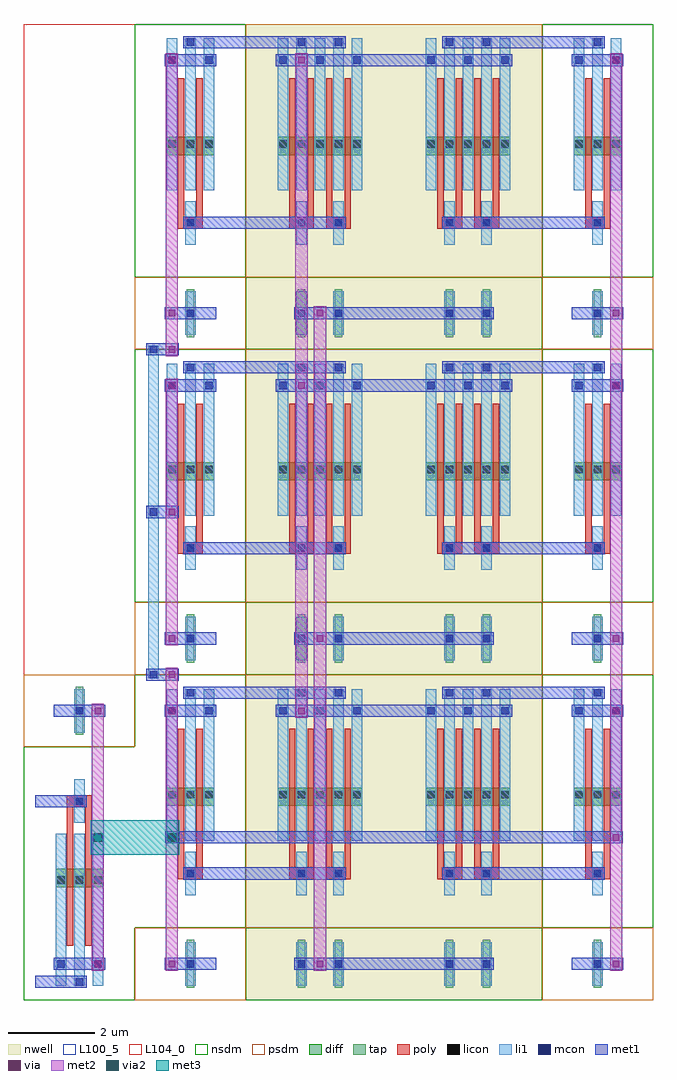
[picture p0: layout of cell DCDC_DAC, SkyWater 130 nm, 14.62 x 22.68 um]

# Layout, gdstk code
import gdstk
lib = gdstk.Library(unit=1e-6, precision=1e-09)
def R(c, l, rs):  # rectangles x0, y0, x1, y1
    for r in rs: c.add(gdstk.rectangle(r[:2], r[2:], *l))
def A(c, l, x, y, w, h, nx, ny, dx, dy):  # array of equal rectangles
    R(c, l, [(x+i*dx, y+j*dy, x+i*dx+w, y+j*dy+h) for i in range(nx) for j in range(ny)])
nwell = (64, 20)
diff = (65, 20)
tap = (65, 44)
poly = (66, 20)
licon = (66, 44)
li1 = (67, 20)
mcon = (67, 44)
met1 = (68, 20)
via = (68, 44)
met2 = (69, 20)
via2 = (69, 44)
met3 = (70, 20)
nsdm = (93, 44)
psdm = (94, 20)
L100_5 = (100, 5)
L104_0 = (104, 0)

dcdc_dac = lib.new_cell('DCDC_DAC')
A(dcdc_dac, nwell, 5.16, 0, 3.44, 7.56, 1, 3, 0, 7.56)
A(dcdc_dac, nwell, 8.6, 0, 3.44, 7.56, 1, 3, 0, 7.56)
A(dcdc_dac, diff, 3.315, 4.515, 1.11, 0.42, 1, 3, 0, 7.56)
A(dcdc_dac, diff, 5.895, 4.515, 1.97, 0.42, 1, 3, 0, 7.56)
A(dcdc_dac, diff, 9.335, 4.515, 1.97, 0.42, 1, 3, 0, 7.56)
A(dcdc_dac, diff, 12.775, 4.515, 1.11, 0.42, 1, 3, 0, 7.56)
R(dcdc_dac, diff, [(0.735,2.625,1.845,3.045)])
A(dcdc_dac, tap, 3.785, 0.28, 0.17, 1.12, 1, 3, 0, 7.56)
A(dcdc_dac, tap, 6.365, 0.28, 0.17, 1.12, 1, 3, 0, 7.56)
A(dcdc_dac, tap, 7.225, 0.28, 0.17, 1.12, 1, 3, 0, 7.56)
A(dcdc_dac, tap, 9.805, 0.28, 0.17, 1.12, 1, 3, 0, 7.56)
A(dcdc_dac, tap, 10.665, 0.28, 0.17, 1.12, 1, 3, 0, 7.56)
A(dcdc_dac, tap, 13.245, 0.28, 0.17, 1.12, 1, 3, 0, 7.56)
R(dcdc_dac, tap, [(1.205,6.16,1.375,7.28)])
A(dcdc_dac, poly, 3.58, 2.805, 0.58, 0.27, 1, 3, 0, 7.56)
A(dcdc_dac, poly, 6.16, 2.805, 0.58, 0.27, 1, 3, 0, 7.56)
A(dcdc_dac, poly, 7.02, 2.805, 0.58, 0.27, 1, 3, 0, 7.56)
A(dcdc_dac, poly, 9.6, 2.805, 0.58, 0.27, 1, 3, 0, 7.56)
A(dcdc_dac, poly, 10.46, 2.805, 0.58, 0.27, 1, 3, 0, 7.56)
A(dcdc_dac, poly, 13.04, 2.805, 0.58, 0.27, 1, 3, 0, 7.56)
A(dcdc_dac, poly, 3.58, 2.94, 0.15, 3.36, 1, 3, 0, 7.56)
A(dcdc_dac, poly, 4.01, 2.94, 0.15, 3.36, 1, 3, 0, 7.56)
A(dcdc_dac, poly, 6.16, 2.94, 0.15, 3.36, 4, 3, 0.43, 7.56)
A(dcdc_dac, poly, 9.6, 2.94, 0.15, 3.36, 4, 3, 0.43, 7.56)
A(dcdc_dac, poly, 13.04, 2.94, 0.15, 3.36, 1, 3, 0, 7.56)
A(dcdc_dac, poly, 13.47, 2.94, 0.15, 3.36, 1, 3, 0, 7.56)
R(dcdc_dac, poly, [(1,1.26,1.15,4.62), (1.43,1.26,1.58,4.62), (1,4.485,1.58,4.755)])
A(dcdc_dac, licon, 0.775, 2.705, 0.17, 0.17, 3, 1, 0.43, 0)
A(dcdc_dac, licon, 3.355, 4.685, 0.17, 0.17, 3, 3, 0.43, 7.56)
A(dcdc_dac, licon, 5.935, 4.685, 0.17, 0.17, 3, 3, 0.43, 7.56)
A(dcdc_dac, licon, 6.795, 4.685, 0.17, 0.17, 3, 3, 0.43, 7.56)
A(dcdc_dac, licon, 9.375, 4.685, 0.17, 0.17, 3, 3, 0.43, 7.56)
A(dcdc_dac, licon, 10.235, 4.685, 0.17, 0.17, 3, 3, 0.43, 7.56)
A(dcdc_dac, licon, 12.815, 4.685, 0.17, 0.17, 3, 3, 0.43, 7.56)
R(dcdc_dac, licon, [(3.785,0.755,3.955,0.925), (6.365,0.755,6.535,0.925), (7.225,0.755,7.395,0.925), (9.805,0.755,9.975,0.925), (10.665,0.755,10.835,0.925), (13.245,0.755,13.415,0.925), (3.785,2.855,3.955,3.025), (6.365,2.855,6.535,3.025), (7.225,2.855,7.395,3.025), (9.805,2.855,9.975,3.025), (10.665,2.855,10.835,3.025), (13.245,2.855,13.415,3.025), (1.205,4.535,1.375,4.705), (1.205,6.635,1.375,6.805), (3.785,8.315,3.955,8.485), (6.365,8.315,6.535,8.485), (7.225,8.315,7.395,8.485), (9.805,8.315,9.975,8.485), (10.665,8.315,10.835,8.485), (13.245,8.315,13.415,8.485), (3.785,10.415,3.955,10.585), (6.365,10.415,6.535,10.585), (7.225,10.415,7.395,10.585), (9.805,10.415,9.975,10.585), (10.665,10.415,10.835,10.585), (13.245,10.415,13.415,10.585), (3.785,15.875,3.955,16.045), (6.365,15.875,6.535,16.045), (7.225,15.875,7.395,16.045), (9.805,15.875,9.975,16.045), (10.665,15.875,10.835,16.045), (13.245,15.875,13.415,16.045), (3.785,17.975,3.955,18.145), (6.365,17.975,6.535,18.145), (7.225,17.975,7.395,18.145), (9.805,17.975,9.975,18.145), (10.665,17.975,10.835,18.145), (13.245,17.975,13.415,18.145)])
A(dcdc_dac, li1, 0.735, 0.335, 0.25, 3.53, 3, 1, 0.43, 0)
A(dcdc_dac, li1, 3.315, 3.695, 0.25, 3.53, 3, 3, 0.43, 7.56)
A(dcdc_dac, li1, 5.895, 3.695, 0.25, 3.53, 5, 3, 0.43, 7.56)
A(dcdc_dac, li1, 9.335, 3.695, 0.25, 3.53, 5, 3, 0.43, 7.56)
A(dcdc_dac, li1, 12.775, 3.695, 0.25, 3.53, 3, 3, 0.43, 7.56)
R(dcdc_dac, li1, [(3.745,0.335,3.995,1.345), (6.325,0.335,6.575,1.345), (7.185,0.335,7.435,1.345), (9.765,0.335,10.015,1.345), (10.625,0.335,10.875,1.345), (13.205,0.335,13.455,1.345), (3.745,2.435,3.995,3.445), (6.325,2.435,6.575,3.445), (7.185,2.435,7.435,3.445), (9.765,2.435,10.015,3.445), (10.625,2.435,10.875,3.445), (13.205,2.435,13.455,3.445), (1.165,4.115,1.415,5.125), (1.165,6.215,1.415,7.225), (2.885,7.475,3.135,15.205), (3.745,7.895,3.995,8.905), (6.325,7.895,6.575,8.905), (7.185,7.895,7.435,8.905), (9.765,7.895,10.015,8.905), (10.625,7.895,10.875,8.905), (13.205,7.895,13.455,8.905), (3.745,9.995,3.995,11.005), (6.325,9.995,6.575,11.005), (7.185,9.995,7.435,11.005), (9.765,9.995,10.015,11.005), (10.625,9.995,10.875,11.005), (13.205,9.995,13.455,11.005), (3.745,15.455,3.995,16.465), (6.325,15.455,6.575,16.465), (7.185,15.455,7.435,16.465), (9.765,15.455,10.015,16.465), (10.625,15.455,10.875,16.465), (13.205,15.455,13.455,16.465), (3.745,17.555,3.995,18.565), (6.325,17.555,6.575,18.565), (7.185,17.555,7.435,18.565), (9.765,17.555,10.015,18.565), (10.625,17.555,10.875,18.565), (13.205,17.555,13.455,18.565)])
A(dcdc_dac, mcon, 3.355, 6.635, 0.17, 0.17, 1, 3, 0, 7.56)
A(dcdc_dac, mcon, 4.215, 6.635, 0.17, 0.17, 1, 3, 0, 7.56)
A(dcdc_dac, mcon, 5.935, 6.635, 0.17, 0.17, 3, 3, 0.86, 7.56)
A(dcdc_dac, mcon, 9.375, 6.635, 0.17, 0.17, 3, 3, 0.86, 7.56)
A(dcdc_dac, mcon, 12.815, 6.635, 0.17, 0.17, 1, 3, 0, 7.56)
A(dcdc_dac, mcon, 13.675, 6.635, 0.17, 0.17, 1, 3, 0, 7.56)
A(dcdc_dac, mcon, 2.925, 7.475, 0.17, 0.17, 1, 3, 0, 3.78)
R(dcdc_dac, mcon, [(1.205,0.335,1.375,0.505), (0.775,0.755,0.945,0.925), (1.635,0.755,1.805,0.925), (3.785,0.755,3.955,0.925), (6.365,0.755,6.535,0.925), (7.225,0.755,7.395,0.925), (9.805,0.755,9.975,0.925), (10.665,0.755,10.835,0.925), (13.245,0.755,13.415,0.925), (3.785,2.855,3.955,3.025), (6.365,2.855,6.535,3.025), (7.225,2.855,7.395,3.025), (9.805,2.855,9.975,3.025), (10.665,2.855,10.835,3.025), (13.245,2.855,13.415,3.025), (1.205,4.535,1.375,4.705), (1.205,6.635,1.375,6.805), (3.785,7.055,3.955,7.225), (6.365,7.055,6.535,7.225), (7.225,7.055,7.395,7.225), (9.805,7.055,9.975,7.225), (10.665,7.055,10.835,7.225), (13.245,7.055,13.415,7.225), (3.785,8.315,3.955,8.485), (6.365,8.315,6.535,8.485), (7.225,8.315,7.395,8.485), (9.805,8.315,9.975,8.485), (10.665,8.315,10.835,8.485), (13.245,8.315,13.415,8.485), (3.785,10.415,3.955,10.585), (6.365,10.415,6.535,10.585), (7.225,10.415,7.395,10.585), (9.805,10.415,9.975,10.585), (10.665,10.415,10.835,10.585), (13.245,10.415,13.415,10.585), (3.785,14.615,3.955,14.785), (6.365,14.615,6.535,14.785), (7.225,14.615,7.395,14.785), (9.805,14.615,9.975,14.785), (10.665,14.615,10.835,14.785), (13.245,14.615,13.415,14.785), (3.785,15.875,3.955,16.045), (6.365,15.875,6.535,16.045), (7.225,15.875,7.395,16.045), (9.805,15.875,9.975,16.045), (10.665,15.875,10.835,16.045), (13.245,15.875,13.415,16.045), (3.785,17.975,3.955,18.145), (6.365,17.975,6.535,18.145), (7.225,17.975,7.395,18.145), (9.805,17.975,9.975,18.145), (10.665,17.975,10.835,18.145), (13.245,17.975,13.415,18.145), (3.785,22.175,3.955,22.345), (6.365,22.175,6.535,22.345), (7.225,22.175,7.395,22.345), (9.805,22.175,9.975,22.345), (10.665,22.175,10.835,22.345), (13.245,22.175,13.415,22.345)])
A(dcdc_dac, met1, 6.28, 0.7, 4.64, 0.28, 1, 3, 0, 7.56)
A(dcdc_dac, met1, 5.85, 6.58, 5.5, 0.28, 1, 3, 0, 7.56)
A(dcdc_dac, met1, 2.84, 7.42, 0.76, 0.28, 1, 3, 0, 3.78)
R(dcdc_dac, met1, [(0.26,0.28,1.46,0.56), (0.69,0.7,1.89,0.98), (3.27,0.7,4.47,0.98), (12.73,0.7,13.93,0.98), (3.7,2.8,7.48,3.08), (9.72,2.8,13.5,3.08), (3.28,3.64,13.92,3.92), (0.26,4.48,1.46,4.76), (0.69,6.58,1.89,6.86), (3.27,6.58,4.47,6.86), (12.73,6.58,13.93,6.86), (3.7,7,7.48,7.28), (9.72,7,13.5,7.28), (3.27,8.26,4.47,8.54), (12.73,8.26,13.93,8.54), (3.7,10.36,7.48,10.64), (9.72,10.36,13.5,10.64), (3.27,14.14,4.47,14.42), (12.73,14.14,13.93,14.42), (3.7,14.56,7.48,14.84), (9.72,14.56,13.5,14.84), (3.27,15.82,4.47,16.1), (12.73,15.82,13.93,16.1), (3.7,17.92,7.48,18.2), (9.72,17.92,13.5,18.2), (3.27,21.7,4.47,21.98), (12.73,21.7,13.93,21.98), (3.7,22.12,7.48,22.4), (9.72,22.12,13.5,22.4)])
A(dcdc_dac, via, 3.365, 0.765, 0.15, 0.15, 1, 3, 0, 2.94)
A(dcdc_dac, via, 6.805, 0.765, 0.15, 0.15, 1, 3, 0, 7.56)
A(dcdc_dac, via, 13.685, 0.765, 0.15, 0.15, 1, 3, 0, 2.94)
A(dcdc_dac, via, 6.375, 6.645, 0.15, 0.15, 1, 3, 0, 7.56)
A(dcdc_dac, via, 3.365, 8.325, 0.15, 0.15, 1, 3, 0, 2.94)
R(dcdc_dac, via, [(1.645,0.765,1.795,0.915), (1.645,6.645,1.795,6.795), (3.365,7.485,3.515,7.635), (13.685,8.325,13.835,8.475), (13.685,14.205,13.835,14.355), (3.365,15.045,3.515,15.195), (3.365,15.885,3.515,16.035), (13.685,15.885,13.835,16.035), (3.365,21.765,3.515,21.915), (13.685,21.765,13.835,21.915)])
R(dcdc_dac, met2, [(1.58,0.68,1.86,6.88), (3.3,0.68,3.58,7.72), (6.74,0.68,7.02,16.12), (13.62,0.68,13.9,22), (6.31,6.56,6.59,22), (3.3,8.24,3.58,14.44), (3.3,14.96,3.58,22)])
R(dcdc_dac, via2, [(1.62,3.68,1.82,3.88), (3.34,3.68,3.54,3.88)])
R(dcdc_dac, met3, [(1.555,3.38,3.605,4.18)])
A(dcdc_dac, nsdm, 5.16, 0, 3.44, 1.68, 1, 3, 0, 7.56)
A(dcdc_dac, nsdm, 8.6, 0, 3.44, 1.68, 1, 3, 0, 7.56)
A(dcdc_dac, nsdm, 2.58, 1.68, 2.58, 5.88, 1, 3, 0, 7.56)
A(dcdc_dac, nsdm, 12.04, 1.68, 2.58, 5.88, 1, 3, 0, 7.56)
R(dcdc_dac, nsdm, [(0,0,2.58,5.88)])
A(dcdc_dac, psdm, 2.58, 0, 2.58, 1.68, 1, 3, 0, 7.56)
A(dcdc_dac, psdm, 12.04, 0, 2.58, 1.68, 1, 3, 0, 7.56)
A(dcdc_dac, psdm, 5.16, 1.68, 3.44, 5.88, 1, 3, 0, 7.56)
A(dcdc_dac, psdm, 8.6, 1.68, 3.44, 5.88, 1, 3, 0, 7.56)
R(dcdc_dac, psdm, [(0,5.88,2.58,7.56)])
R(dcdc_dac, L100_5, [(0,0,14.62,22.68)])
R(dcdc_dac, L104_0, [(0,0,14.62,22.68)])

lib.write_gds('DCDC_DAC.gds')
